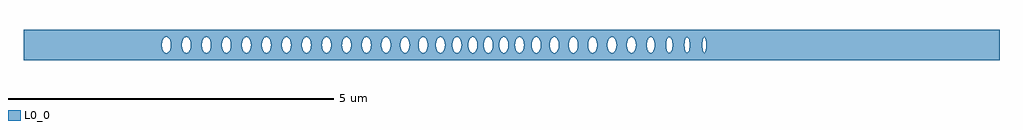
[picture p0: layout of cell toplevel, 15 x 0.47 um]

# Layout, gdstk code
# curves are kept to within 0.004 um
import gdstk
lib = gdstk.Library(unit=1e-6, precision=1e-09)
def P(c, l, *ps):  # polygons
    for p in ps: c.add(gdstk.Polygon(p, *l))
L0_0 = (0, 0)

toplevel = lib.new_cell('toplevel')
P(toplevel, L0_0, [(-4.759,0.016),(-4.749,0.065),(-4.749,0.235),(-7.5,0.235),(-7.5,-0.008),(-5.375,-0.008),(-5.373,0.031),(-5.359,0.079),(-5.338,0.109),(-5.309,0.124),(-5.278,0.115),(-5.253,0.085),(-5.237,0.038),(-5.235,-0.016),(-5.067,-0.016),(-5.064,0.038),(-5.054,0.073),(-5.031,0.109),(-5.001,0.124),(-4.975,0.118),(-4.952,0.096),(-4.935,0.06),(-4.926,0.008),(-4.931,-0.046),(-4.942,-0.079),(-4.963,-0.109),(-4.992,-0.124),(-5.019,-0.118),(-5.042,-0.096),(-5.061,-0.053),(-5.067,-0.016),(-5.235,-0.016),(-5.247,-0.073),(-5.26,-0.096),(-5.283,-0.118),(-5.309,-0.124),(-5.338,-0.109),(-5.356,-0.085),(-5.37,-0.046),(-5.375,-0.008),(-7.5,-0.008),(-7.5,-0.235),(-4.749,-0.235),(-4.749,-0.066)],
  [(-4.746,0.073),(-4.734,0.096),(-4.711,0.118),(-4.694,0.124),(-4.676,0.122),(-4.651,0.105),(-4.632,0.073),(-4.622,0.038),(-4.619,-0.008),(-4.452,-0.008),(-4.447,0.046),(-4.433,0.085),(-4.403,0.118),(-4.377,0.124),(-4.347,0.109),(-4.33,0.085),(-4.314,0.038),(-4.311,-0.008),(-4.316,-0.046),(-4.336,-0.096),(-4.355,-0.115),(-4.377,-0.124),(-4.403,-0.118),(-4.43,-0.09),(-4.447,-0.046),(-4.452,-0.008),(-4.619,-0.008),(-4.625,-0.053),(-4.644,-0.096),(-4.667,-0.118),(-4.685,-0.124),(-4.702,-0.122),(-4.723,-0.109),(-4.749,-0.066),(-4.749,-0.235),(-4.061,-0.235),(-4.061,-0.122),(-4.096,-0.118),(-4.119,-0.096),(-4.131,-0.073),(-4.144,-0.016),(-4.141,0.038),(-4.119,0.096),(-4.096,0.118),(-4.061,0.122),(-4.061,0.235),(-4.749,0.235)],
  [(-4.004,-0.016),(-4.022,-0.085),(-4.04,-0.109),(-4.061,-0.122),(-4.061,-0.235),(-3.407,-0.235),(-3.407,-0.085),(-3.424,-0.109),(-3.445,-0.122),(-3.463,-0.124),(-3.48,-0.118),(-3.513,-0.079),(-3.529,-0.008),(-3.52,0.06),(-3.492,0.109),(-3.472,0.122),(-3.445,0.122),(-3.424,0.109),(-3.407,0.085),(-3.407,0.235),(-4.061,0.235),(-4.061,0.122),(-4.036,0.105),(-4.019,0.079),(-4.008,0.046),(-4.003,0),(-3.837,0),(-3.832,0.046),(-3.817,0.085),(-3.8,0.109),(-3.77,0.124),(-3.744,0.118),(-3.728,0.105),(-3.702,0.053),(-3.696,-0.016),(-3.704,-0.06),(-3.728,-0.105),(-3.757,-0.123),(-3.784,-0.12),(-3.811,-0.096),(-3.832,-0.046),(-3.837,0),(-4.003,0)],
  [(-2.606,-0.008),(-2.605,0.235),(-3.407,0.235),(-3.407,0.085),(-3.391,0.038),(-3.388,-0.016),(-3.221,-0.016),(-3.218,0.038),(-3.208,0.073),(-3.185,0.109),(-3.155,0.124),(-3.129,0.118),(-3.102,0.09),(-3.085,0.046),(-3.08,0),(-2.914,0),(-2.909,0.046),(-2.894,0.085),(-2.877,0.109),(-2.847,0.124),(-2.821,0.118),(-2.798,0.096),(-2.781,0.06),(-2.773,0.016),(-2.776,-0.038),(-2.786,-0.073),(-2.809,-0.109),(-2.839,-0.124),(-2.865,-0.118),(-2.888,-0.096),(-2.909,-0.046),(-2.914,0),(-3.08,0),(-3.085,-0.046),(-3.099,-0.085),(-3.117,-0.109),(-3.146,-0.124),(-3.173,-0.118),(-3.196,-0.096),(-3.208,-0.073),(-3.221,-0.016),(-3.388,-0.016),(-3.407,-0.085),(-3.407,-0.235),(-2.605,-0.235)],
  [(-2.602,0.038),(-2.59,0.079),(-2.573,0.105),(-2.549,0.122),(-2.531,0.124),(-2.501,0.109),(-2.484,0.085),(-2.468,0.038),(-2.465,-0.008),(-2.3,-0.008),(-2.295,0.046),(-2.281,0.085),(-2.251,0.118),(-2.225,0.124),(-2.195,0.109),(-2.172,0.073),(-2.162,0.038),(-2.159,-0.016),(-2.167,-0.06),(-2.184,-0.096),(-2.207,-0.118),(-2.225,-0.124),(-2.251,-0.118),(-2.274,-0.096),(-2.291,-0.06),(-2.3,-0.008),(-2.465,-0.008),(-2.47,-0.046),(-2.49,-0.096),(-2.509,-0.115),(-2.531,-0.124),(-2.557,-0.118),(-2.58,-0.096),(-2.595,-0.066),(-2.605,-0.023),(-2.605,-0.235),(-1.97,-0.235),(-1.97,-0.1),(-1.986,-0.073),(-1.999,-0.008),(-1.994,0.046),(-1.97,0.1),(-1.97,0.235),(-2.605,0.235)],
  [(-1.963,0.109),(-1.942,0.122),(-1.924,0.124),(-1.891,0.105),(-1.867,0.06),(-1.858,-0.008),(-1.708,-0.008),(-1.705,0.038),(-1.686,0.09),(-1.659,0.118),(-1.642,0.124),(-1.624,0.122),(-1.6,0.105),(-1.583,0.079),(-1.569,0.031),(-1.567,-0.008),(-1.572,-0.046),(-1.586,-0.085),(-1.604,-0.109),(-1.633,-0.124),(-1.659,-0.118),(-1.686,-0.09),(-1.703,-0.046),(-1.708,-0.008),(-1.858,-0.008),(-1.869,-0.066),(-1.895,-0.109),(-1.915,-0.122),(-1.933,-0.124),(-1.955,-0.115),(-1.97,-0.1),(-1.97,-0.235),(-1.325,-0.235),(-1.325,-0.109),(-1.354,-0.124),(-1.372,-0.122),(-1.393,-0.109),(-1.416,-0.073),(-1.429,-0.016),(-1.426,0.038),(-1.404,0.096),(-1.385,0.115),(-1.363,0.124),(-1.345,0.122),(-1.325,0.109),(-1.325,0.235),(-1.97,0.235),(-1.97,0.1)],
  [(-1.325,0.235),(-1.325,0.109),(-1.297,0.06),(-1.289,0.023),(-1.289,-0.016),(-1.163,-0.016),(-1.16,0.038),(-1.15,0.073),(-1.127,0.109),(-1.097,0.124),(-1.071,0.118),(-1.044,0.09),(-1.027,0.046),(-1.022,0.008),(-1.024,-0.031),(-1.038,-0.079),(-1.059,-0.109),(-1.088,-0.124),(-1.114,-0.118),(-1.138,-0.096),(-1.15,-0.073),(-1.163,-0.016),(-1.289,-0.016),(-1.304,-0.079),(-1.325,-0.109),(-1.325,-0.235),(-0.771,-0.235),(-0.771,-0.031),(-0.779,-0.066),(-0.797,-0.1),(-0.817,-0.118),(-0.843,-0.124),(-0.861,-0.118),(-0.884,-0.096),(-0.901,-0.06),(-0.909,-0.016),(-0.906,0.038),(-0.896,0.073),(-0.877,0.105),(-0.852,0.122),(-0.826,0.122),(-0.801,0.105),(-0.779,0.066),(-0.771,0.031),(-0.771,0.235)],
  [(-0.768,0.008),(-0.768,-0.008),(-0.665,-0.008),(-0.662,0.038),(-0.646,0.085),(-0.621,0.115),(-0.59,0.124),(-0.561,0.109),(-0.54,0.079),(-0.526,0.031),(-0.525,-0.016),(-0.426,-0.016),(-0.42,0.053),(-0.401,0.096),(-0.369,0.122),(-0.338,0.12),(-0.304,0.085),(-0.286,0.016),(-0.294,-0.06),(-0.322,-0.109),(-0.351,-0.124),(-0.369,-0.122),(-0.39,-0.109),(-0.413,-0.073),(-0.426,-0.016),(-0.525,-0.016),(-0.533,-0.06),(-0.553,-0.1),(-0.581,-0.122),(-0.608,-0.122),(-0.629,-0.109),(-0.646,-0.085),(-0.662,-0.038),(-0.665,-0.008),(-0.768,-0.008),(-0.771,-0.235),(-0.178,-0.235),(-0.178,-0.066),(-0.189,-0.016),(-0.187,0.031),(-0.178,0.065),(-0.178,0.235),(-0.771,0.235)],
  [(-0.176,0.073),(-0.164,0.096),(-0.145,0.115),(-0.123,0.124),(-0.105,0.122),(-0.081,0.105),(-0.064,0.079),(-0.05,0.031),(-0.049,-0.016),(0.053,-0.016),(0.056,0.038),(0.072,0.085),(0.101,0.118),(0.128,0.124),(0.157,0.109),(0.175,0.085),(0.189,0.046),(0.194,-0.008),(0.189,-0.046),(0.175,-0.085),(0.157,-0.109),(0.128,-0.124),(0.101,-0.118),(0.078,-0.096),(0.066,-0.073),(0.053,-0.016),(-0.049,-0.016),(-0.053,-0.046),(-0.07,-0.09),(-0.085,-0.109),(-0.114,-0.124),(-0.132,-0.122),(-0.153,-0.109),(-0.178,-0.066),(-0.178,-0.235),(0.371,-0.235),(0.371,-0.123),(0.335,-0.096),(0.318,-0.06),(0.31,-0.016),(0.313,0.038),(0.323,0.073),(0.342,0.105),(0.371,0.123),(0.371,0.235),(-0.178,0.235)],
  [(0.88,0.016),(0.895,0.079),(0.928,0.118),(0.945,0.124),(0.963,0.122),(0.984,0.109),(1.001,0.085),(1.001,0.235),(0.371,0.235),(0.371,0.123),(0.398,0.12),(0.425,0.096),(0.446,0.046),(0.45,-0.016),(0.587,-0.016),(0.59,0.038),(0.6,0.073),(0.623,0.109),(0.653,0.124),(0.679,0.118),(0.706,0.09),(0.723,0.046),(0.728,0.008),(0.726,-0.031),(0.712,-0.079),(0.691,-0.109),(0.662,-0.124),(0.636,-0.118),(0.612,-0.096),(0.6,-0.073),(0.587,-0.016),(0.45,-0.016),(0.442,-0.06),(0.425,-0.096),(0.402,-0.118),(0.371,-0.123),(0.371,-0.235),(1.001,-0.235),(1.001,-0.085),(0.984,-0.109),(0.963,-0.122),(0.936,-0.122),(0.916,-0.109),(0.888,-0.06),(0.88,-0.023)],
  [(1.019,-0.023),(1.001,-0.085),(1.001,-0.235),(1.774,-0.235),(1.774,0.235),(1.001,0.235),(1.001,0.085),(1.017,0.038),(1.02,-0.008),(1.176,-0.008),(1.178,0.031),(1.192,0.079),(1.213,0.109),(1.242,0.124),(1.277,0.112),(1.298,0.085),(1.314,0.038),(1.317,-0.008),(1.473,-0.008),(1.476,0.038),(1.499,0.096),(1.53,0.122),(1.548,0.124),(1.565,0.118),(1.598,0.079),(1.612,0.031),(1.614,-0.008),(1.598,-0.079),(1.581,-0.105),(1.557,-0.122),(1.53,-0.122),(1.499,-0.096),(1.482,-0.06),(1.473,-0.008),(1.317,-0.008),(1.314,-0.038),(1.298,-0.085),(1.277,-0.112),(1.251,-0.124),(1.225,-0.118),(1.198,-0.09),(1.181,-0.046),(1.176,-0.008),(1.02,-0.008)],
  [(1.775,0.031),(1.798,0.096),(1.822,0.118),(1.848,0.124),(1.877,0.109),(1.895,0.085),(1.909,0.046),(1.914,-0.008),(2.08,-0.008),(2.084,0.045),(2.099,0.09),(2.122,0.117),(2.144,0.123),(2.17,0.108),(2.19,0.072),(2.201,-0.015),(2.194,-0.059),(2.182,-0.09),(2.17,-0.108),(2.144,-0.123),(2.122,-0.117),(2.099,-0.09),(2.084,-0.045),(2.08,-0.008),(1.914,-0.008),(1.909,-0.046),(1.895,-0.085),(1.877,-0.109),(1.848,-0.124),(1.822,-0.118),(1.798,-0.096),(1.786,-0.073),(1.774,-0.023),(1.774,-0.235),(2.441,-0.235),(2.441,-0.116),(2.422,-0.122),(2.398,-0.103),(2.381,-0.059),(2.375,-0.015),(2.378,0.045),(2.393,0.094),(2.416,0.12),(2.429,0.122),(2.441,0.116),(2.441,0.235),(1.774,0.235)],
  [(2.475,-0.023),(2.465,-0.078),(2.441,-0.116),(2.441,-0.235),(7.5,-0.235),(7.5,0.235),(2.441,0.235),(2.441,0.116),(2.467,0.072),(2.476,-0.008),(2.657,-0.008),(2.668,0.083),(2.683,0.113),(2.696,0.121),(2.713,0.113),(2.728,0.083),(2.737,0.037),(2.738,-0.022),(2.932,-0.022),(2.941,0.087),(2.949,0.109),(2.961,0.12),(2.976,0.109),(2.99,0.058),(2.99,-0.058),(2.976,-0.109),(2.964,-0.12),(2.951,-0.112),(2.944,-0.097),(2.932,-0.022),(2.738,-0.022),(2.728,-0.083),(2.718,-0.106),(2.701,-0.121),(2.683,-0.113),(2.668,-0.083),(2.657,-0.008),(2.476,-0.008)])

lib.write_gds('toplevel.gds')
